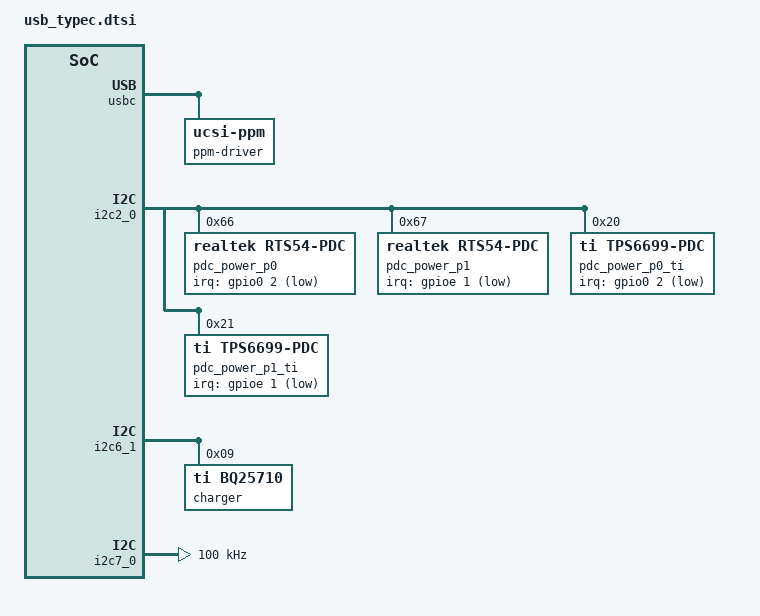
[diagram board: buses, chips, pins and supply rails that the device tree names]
/*
 * Copyright 2025 The ChromiumOS Authors
 *
 * SPDX-License-Identifier: Apache-2.0
 */

#include <usbc-policy.dtsi>

 /{
	usbc {
		#address-cells = <1>;
		#size-cells = <0>;
		usbc_port0: port0@0 {
			compatible = "named-usbc-port";
			reg = <0>;
			chg = <&charger>;
			pdc = <&pdc_power_p0>;
			policy = <&cros_policy>;
		};
		usbc_port1: port1@1 {
			compatible = "named-usbc-port";
			reg = <1>;
			pdc = <&pdc_power_p1>;
			pd-retimer;
			policy = <&cros_policy>;
		};
		ppm-driver {
			compatible = "ucsi-ppm";
		};
	};
};

&usbc_port0 {
	pdc = <&pdc_power_p0 &pdc_power_p0_ti>;
};
&usbc_port1 {
	pdc = <&pdc_power_p1 &pdc_power_p1_ti>;
};

&i2c2_0 {
	pdc_power_p0: rts54-pdc@66 {
		compatible = "realtek,rts54-pdc";
		reg = <0x66>;
		irq-gpios = <&gpio0 2 GPIO_ACTIVE_LOW>;
		ccd;
	};
	pdc_power_p1: rts54-pdc@67 {
		compatible = "realtek,rts54-pdc";
		reg = <0x67>;
		irq-gpios = <&gpioe 1 GPIO_ACTIVE_LOW>;
	};

	pdc_power_p0_ti: tps6699-pdc@20 {
		compatible = "ti,tps6699-pdc";
		reg = <0x20>;
		irq-gpios = <&gpio0 2 GPIO_ACTIVE_LOW>;
		zephyr,deferred-init;
		ccd;
	};
	pdc_power_p1_ti: tps6699-pdc@21 {
		compatible = "ti,tps6699-pdc";
		reg = <0x21>;
		irq-gpios = <&gpioe 1 GPIO_ACTIVE_LOW>;
		zephyr,deferred-init;
	};
};

&pdc_power_p0 {
	zephyr,deferred-init;
};

&pdc_power_p1 {
	zephyr,deferred-init;
};

&i2c6_1 {
	charger: bq25710@9 {
		compatible = "ti,bq25710";
		status = "okay";
		reg = <0x9>;
	};
};

&i2c3_0 {
    status = "disabled";
};
/delete-node/ &i2c_i2c_ec_imvp91;

&i2c7_0 {
	clock-frequency = <I2C_BITRATE_STANDARD>;
};
